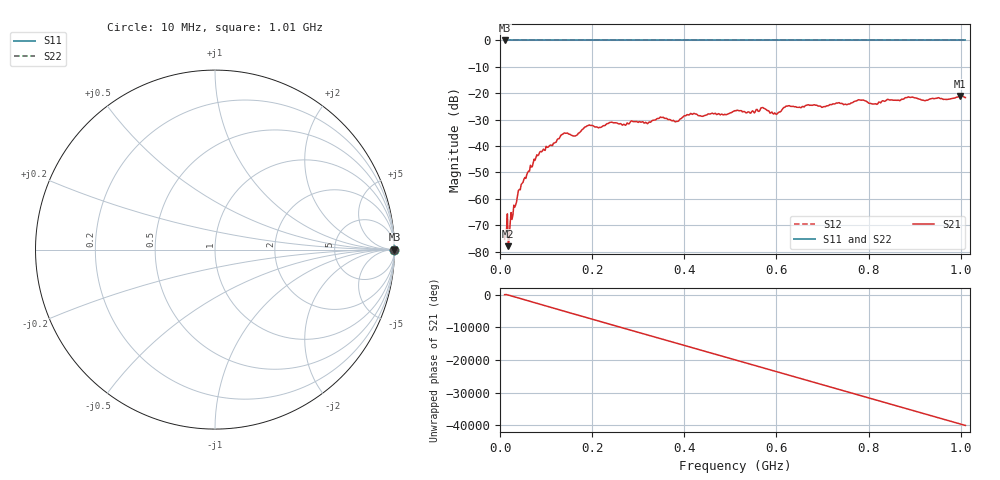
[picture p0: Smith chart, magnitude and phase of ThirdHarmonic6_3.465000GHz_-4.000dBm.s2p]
! 8/17/2025 11:13:40 AM
! C:\ANRITSUVNA\TEMP\TEMP.S2P
! CHANNEL.1
! TR.MEASUREMENT
! RAW.DATA
! RF.CORRECTION.OFF
! AVERAGING.OFF
! IF.BANDWIDTH: 5KHZ
! SWEEPTYPE:  FREQ.SWEEP(Linear)
! Reference Plane Port Info
! PORT:  PORT1  PORT2
! DISTANCE:  0  m  0  m
! TIME:  0  s  0  s
! PHASE.OFFSET:  0  deg.  0  deg.
! LOSS:  0  dB  0  dB
! REF.LOSS:  0  dB  0  dB
! REF.FREQ:  0  Hz  0  Hz
! Power Info
! POWER:  -20  dBm  -20  dBm
! EFF.POWER:  -20  dBm  -20  dBm
! SOURCE.ATTEN:  0  dB  0  dB
! TEST.ATTEN:  0  dB  0  dB
# GHZ S RI R 50.0
! FREQ.GHZ  S11RE  S11IM  S21RE  S21IM  S12RE  S12IM  S22RE  S22IM
!; PortSelection: Port_12
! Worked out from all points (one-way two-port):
!   501 points, 10 MHz to 1.01 GHz, reference 50 ohm
!   highest |S21| = -21.00 dB at 998 MHz (marker M1); lowest = -78.0 dB at 18 MHz (marker M2)
!   lowest |S11| = 0.0 dB at 10 MHz (marker M3)
!   |S11| at or under -10 dB: nowhere
!   |S22| runs from 0.0 to 0.0 dB; largest |S21 - S12| = 1.1
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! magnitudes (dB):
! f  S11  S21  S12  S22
! 10 MHz  0.0  -75.4  0.0  0.0
! 12 MHz  0.0  -72.1  0.0  0.0
! 18 MHz  0.0  -78.0  0.0  0.0
! 22 MHz  0.0  -69.4  0.0  0.0
! 26 MHz  0.0  -67.8  0.0  0.0
! 44 MHz  0.0  -56.6  0.0  0.0
! 78 MHz  0.0  -44.3  0.0  0.0
! 136 MHz  0.0  -35.6  0.0  0.0
! 164 MHz  0.0  -36.2  0.0  0.0
! 178 MHz  0.0  -33.8  0.0  0.0
! 192 MHz  0.0  -32.2  0.0  0.0
! 344 MHz  0.0  -29.6  0.0  0.0
! 384 MHz  0.0  -30.7  0.0  0.0
! 416 MHz  0.0  -27.9  0.0  0.0
! 510 MHz  0.0  -26.6  0.0  0.0
! 570 MHz  0.0  -25.4  0.0  0.0
! 598 MHz  0.0  -27.8  0.0  0.0
! 624 MHz  0.0  -24.9  0.0  0.0
! 678 MHz  0.0  -24.6  0.0  0.0
! 844 MHz  0.0  -22.5  0.0  0.0
! 998 MHz  0.0  -21.0  0.0  0.0
! 1.01 GHz  0.0  -21.6  0.0  0.0
